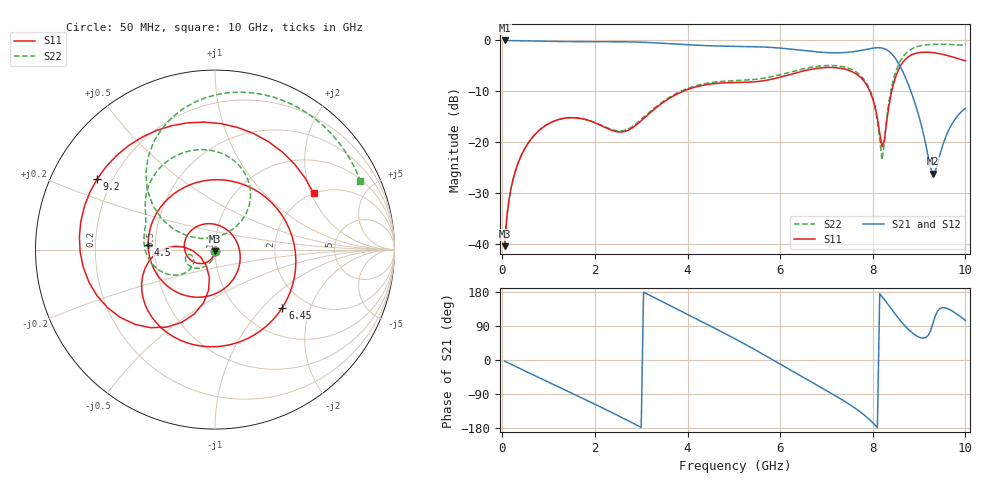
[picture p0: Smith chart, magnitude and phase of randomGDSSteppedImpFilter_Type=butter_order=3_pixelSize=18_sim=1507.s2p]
! freq	dB(S11)	phase(S11)	dB(S12)	phase(S12)
!  dB(S21)	phase(S21)	dB(S22)	phase(S22)
!S-par simulation data
#  GHz  S  DB  R 50
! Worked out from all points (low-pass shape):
!   200 points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, 50 MHz to 10 GHz, reference 50 ohm
!   highest |S21| = 0.00 dB at 50 MHz (marker M1); lowest = -26.2 dB at 9.3 GHz (marker M2)
!   |S21| within 3 dB of the highest: start of sweep to 8.446 GHz
!   lowest |S11| = -40.4 dB at 50 MHz (marker M3), VSWR 1.02, Z = 49.9 - j0.954 ohm
!   |S11| at or under -10 dB: start of sweep to 3.9 GHz; 7.938 GHz to 8.409 GHz (470.6 MHz wide, 5.76 % of centre)
!   |S22| runs from -40.4 to -0.7 dB; largest |S21 - S12| = 0
!   S11 on the Smith chart (normalised r, x): 50 MHz: 1.00, -0.02; 4.5 GHz: 0.46, +0.03; 6.45 GHz: 1.52, -1.31; 9.2 GHz: 0.14, +0.27; 10 GHz: 1.99, +2.08
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0.05  -40.39 -92.5  -0.00 -3.0  -0.00 -3.0  -40.37 -91.4
0.2  -28.55 -103.7  -0.03 -11.9  -0.03 -11.9  -28.54 -99.7
0.5  -21.02 -125.1  -0.08 -29.5  -0.08 -29.5  -21.00 -114.7
1.75  -15.43 139.5  -0.25 -102.0  -0.25 -102.0  -15.39 -164.7
2.65  -17.85 21.1  -0.27 -156.1  -0.27 -156.1  -17.62 -154.0
3.4  -12.66 -82.3  -0.52 157.2  -0.52 157.2  -12.44 -144.4
4.5  -8.56 176.0  -1.05 89.3  -1.05 89.3  -8.29 -177.6
5.05  -8.26 121.8  -1.16 54.3  -1.16 54.3  -7.87 167.0
5.75  -7.75 39.8  -1.34 6.9  -1.34 6.9  -7.25 153.0
6.45  -6.10 -40.8  -1.92 -42.4  -1.92 -42.4  -5.68 134.1
6.7  -5.62 -65.8  -2.17 -59.8  -2.17 -59.8  -5.22 124.2
7.2  -5.34 -111.3  -2.44 -94.9  -2.44 -94.9  -4.96 100.5
7.8  -7.88 -165.0  -1.87 -143.7  -1.87 -143.7  -7.53 63.4
8.05  -13.08 175.2  -1.47 -171.6  -1.47 -171.6  -13.14 47.4
8.2  -20.87 -152.5  -1.50 167.5  -1.50 167.5  -23.43 93.5
8.35  -12.78 -99.0  -2.13 143.6  -2.13 143.6  -11.93 154.0
8.65  -4.28 -137.1  -6.16 96.0  -6.16 96.0  -3.24 119.9
8.9  -2.61 -172.4  -12.00 67.4  -12.00 67.4  -1.41 93.0
9.2  -2.32 149.0  -22.94 65.6  -22.94 65.6  -0.82 69.1
9.3  -2.40 136.1  -26.16 97.0  -26.16 97.0  -0.77 62.4
9.65  -3.07 87.3  -17.41 133.7  -17.41 133.7  -0.79 42.2
10  -3.98 29.8  -13.31 104.4  -13.31 104.4  -0.95 25.4
